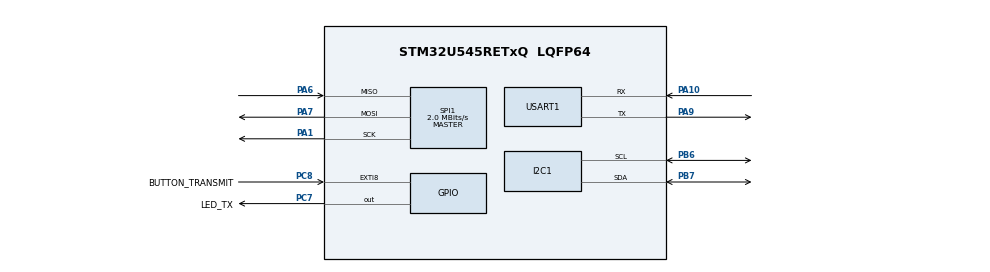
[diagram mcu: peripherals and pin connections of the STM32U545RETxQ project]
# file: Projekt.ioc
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CORTEX_M33_NS.userName=CORTEX_M33
I2C1.Timing=0x00000E14
Mcu.Family=STM32U5
Mcu.Name=STM32U545RETxQ
Mcu.Package=LQFP64
NVIC.EXTI8_IRQn=true\:0\:0\:false\:false\:true\:true\:true\:true
NVIC.PriorityGroup=NVIC_PRIORITYGROUP_4
PA1.Mode=Full_Duplex_Master
PA1.Signal=SPI1_SCK
PA10.Mode=Asynchronous
PA10.Signal=USART1_RX
PA6.Mode=Full_Duplex_Master
PA6.Signal=SPI1_MISO
PA7.Mode=Full_Duplex_Master
PA7.Signal=SPI1_MOSI
PA9.Mode=Asynchronous
PA9.Signal=USART1_TX
PB6.Mode=I2C
PB6.Signal=I2C1_SCL
PB7.Mode=I2C
PB7.Signal=I2C1_SDA
PC7.GPIO_Label=LED_TX
PC7.Signal=GPIO_Output
PC8.GPIO_Label=BUTTON_TRANSMIT
PC8.GPIO_ModeDefaultEXTI=GPIO_MODE_IT_FALLING
PC8.GPIO_PuPd=GPIO_PULLDOWN
PC8.Signal=GPXTI8
ProjectManager.HeapSize=0x200
ProjectManager.StackSize=0x400
ProjectManager.TargetToolchain=STM32CubeIDE
RCC.ADCFreq_Value=16000000
RCC.DACCLockSelectionVirtual=RCC_DAC1CLKSOURCE_LSI
RCC.DACCLockSelectionVirtualString=RCC_DAC1CLKSOURCE_LSI
RCC.EPOD_VALUE=4000000
RCC.HSE_VALUE=16000000
RCC.HSI48_VALUE=48000000
RCC.HSI_VALUE=16000000
RCC.LSE_VALUE=32768
RCC.LSIDIV_VALUE=32000
RCC.MSI_VALUE=4000000
RCC.USBFreq_Value=48000000
RCC.VCOOutputFreq_Value=516000000
SPI1.CalculateBaudRate=2.0 MBits/s
SPI1.Direction=SPI_DIRECTION_2LINES
SPI1.Mode=SPI_MODE_MASTER
SPI1.VirtualType=VM_MASTER
USART1.VirtualMode-Asynchronous=VM_ASYNC
VP_CRC_VS_CRC.Mode=CRC_Activate
VP_LPBAMQUEUE_VS_QUEUE.Mode=QUEUEMODE
VP_LPBAM_VS_SIG1.Mode=SmartRun
VP_LPBAM_VS_SIG4.Mode=LPDMA1
VP_MEMORYMAP_VS_MEMORYMAP.Mode=CurAppReg
VP_PWR_VS_SECSignals.Mode=Security/Privilege
VP_RTC_VS_RTC_Activate.Mode=RTC_Enabled
board=custom

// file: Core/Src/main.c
/* USER CODE BEGIN Header */
/**
  ******************************************************************************
  * @file           : main.c
  * @brief          : Main program body
  ******************************************************************************
  * @attention
  *
  * Copyright (c) 2025 STMicroelectronics.
  * All rights reserved.
  *
  * This software is licensed under terms that can be found in the LICENSE file
  * in the root directory of this software component.
  * If no LICENSE file comes with this software, it is provided AS-IS.
  *
  ******************************************************************************
  */
/* USER CODE END Header */
#include "main.h"

/* USER CODE BEGIN Includes */
#include "app_template.h"
#include "crypto_utils.h"
#include "config.h"
#include <stdbool.h>
#include <stdio.h>
/* USER CODE END Includes */

/* USER CODE BEGIN PD */
#define RF_FREQUENCY     868200000 // Hz
#define TX_OUTPUT_POWER  0         // dBm
#define TX_TIMEOUT       3000      // ms
/* USER CODE END PD */

CRC_HandleTypeDef hcrc;

I2C_HandleTypeDef hi2c1;

RTC_HandleTypeDef hrtc;

SPI_HandleTypeDef hspi1;

UART_HandleTypeDef huart1;

/* USER CODE BEGIN PV */
int __io_putchar(int ch)
{
	if (ch == '\n') {
		uint8_t ch2 = '\r';
		HAL_UART_Transmit(&huart1, &ch2, 1, HAL_MAX_DELAY);
	}

	HAL_UART_Transmit(&huart1, (uint8_t*)&ch, 1, HAL_MAX_DELAY);
	return 1;
}
/* USER CODE END PV */

void SystemClock_Config(void);
static void MX_GPIO_Init(void);
static void MX_USART1_UART_Init(void);
static void MX_RTC_Init(void);
static void MX_SPI1_Init(void);
static void MX_CRC_Init(void);
static void MX_I2C1_Init(void);

/* USER CODE BEGIN 0 */
volatile uint8_t buttonPressed = 0; // Flaga sygnalizująca naciśnięcie
volatile bool transmission_in_progress = false; // Flaga blokująca kolejne przerwania
void HAL_GPIO_EXTI_Falling_Callback(uint16_t GPIO_Pin)
{
    // Sprawdź czy to właściwy pin ORAZ czy transmisja nie jest już w toku
    if(GPIO_Pin == BUTTON_TRANSMIT_Pin && !transmission_in_progress)
    {
        // Zastosuj prosty software debounce - opóźnienie czasowe
        // (Można też użyć HAL_GetTick() do bardziej precyzyjnego pomiaru)
        uint32_t last_tick = HAL_GetTick();
        while (HAL_GPIO_ReadPin(BUTTON_TRANSMIT_GPIO_Port, BUTTON_TRANSMIT_Pin) == GPIO_PIN_RESET) {
             // Czekaj aż przycisk zostanie puszczony LUB minie krótki czas (np. 50ms)
             if (HAL_GetTick() - last_tick > 50) break;
        }

        // Sprawdź ponownie, czy flaga nie została ustawiona w międzyczasie
        // i czy przycisk jest faktycznie nieaktywny (puszczony - stan wysoki dla PULLUP)
         if (!transmission_in_progress && HAL_GPIO_ReadPin(BUTTON_TRANSMIT_GPIO_Port, BUTTON_TRANSMIT_Pin) == GPIO_PIN_SET) {
             buttonPressed = 1; // Ustaw flagę żądania transmisji
             transmission_in_progress = true; // Zablokuj możliwość kolejnego przerwania do końca cyklu
         }
    }
}
/* USER CODE END 0 */

int main(void)
{

  /* MCU Configuration--------------------------------------------------------*/

  /* Reset of all peripherals, Initializes the Flash interface and the Systick. */
  HAL_Init();

  /* Configure the system clock */
  SystemClock_Config();

  /* Initialize all configured peripherals */
  MX_GPIO_Init();
  MX_USART1_UART_Init();
  MX_RTC_Init();
  MX_SPI1_Init();
  MX_CRC_Init();
  MX_I2C1_Init();
  /* USER CODE BEGIN 2 */

  printf("===== Test funkcji kryptograficznych =====\n\r");

  printf("\n\r>> Test funkcji bezpiecznej ramki z komendą:\n\r");

  /* Zmienna na licznik - teraz tylko ta wartość jest definiowana lokalnie */
  uint8_t counter[8] = {0x00, 0x00, 0x00, 0x00, 0x00, 0x00, 0x00, 0x01};

  /* Bufory na ramkę i wyniki */
  uint8_t secure_frame[MAX_FRAME_SIZE];
  size_t secure_frame_size;

  create_secure_command_frame(
      PILOT_ID,                                  // ID pilota z pliku config
      counter,                                   // Lokalny licznik
      CRYPTO_AES_KEY, sizeof(CRYPTO_AES_KEY),    // Klucz do szyfrowania AES
      CRYPTO_HMAC_KEY, sizeof(CRYPTO_HMAC_KEY),  // Klucz do podpisu HMAC
      CRYPTO_IV, sizeof(CRYPTO_IV),              // Wektor inicjalizacyjny
      secure_frame, &secure_frame_size);

  /* Symulacja odbioru i przetwarzania ramki */
  uint8_t received_pilot_id[PILOT_ID_LENGTH];
  uint8_t received_counter[8];
  uint8_t received_command[MAX_COMMAND_LENGTH];
  size_t received_command_size;

  uint8_t result = validate_and_process_command(
      secure_frame, secure_frame_size,
      CRYPTO_AES_KEY, sizeof(CRYPTO_AES_KEY),    // Klucz do szyfrowania AES
      CRYPTO_HMAC_KEY, sizeof(CRYPTO_HMAC_KEY),  // Klucz do podpisu HMAC
      CRYPTO_IV, sizeof(CRYPTO_IV),              // Wektor inicjalizacyjny
      received_pilot_id, received_counter,
      received_command, &received_command_size);

  if (result) {
      printf("\n\r>> Odebrana komenda została pomyślnie zweryfikowana i przetworzona!\n\r");

      /* Weryfikacja czy odebrane ID pilota zgadza się z konfiguracyjnym */
      if (memcmp(received_pilot_id, PILOT_ID, PILOT_ID_LENGTH) == 0) {
          printf(">> ID pilota zweryfikowane poprawnie.\n\r");
      } else {
          printf(">> Błąd: Odebrane ID pilota nie zgadza się z oczekiwanym.\n\r");
      }
  } else {
      printf("\n\r>> Błąd podczas weryfikacji lub przetwarzania odebranej komendy!\n\r");
  }

  printf("\n\r===== Koniec testów =====\n\r");

  /* USER CODE END 2 */

  /* Infinite loop */
  while (1)
  {

    /* USER CODE BEGIN 3 */

	  if (buttonPressed)
	  {
	      buttonPressed = 0;
	      transmission_in_progress = true;

	      app_main();

	      transmission_in_progress = false;
	        for(int i = 0; i < 10; i++)
	        {
	            HAL_GPIO_TogglePin(LED_TX_GPIO_Port, LED_TX_Pin); // Włącz diodę
	            HAL_Delay(100);
	            HAL_GPIO_TogglePin(LED_TX_GPIO_Port, LED_TX_Pin); // Wyłącz diodę
	            HAL_Delay(100);
	        }
	  }
  }
  /* USER CODE END 3 */
}

void SystemClock_Config(void)
{
  RCC_OscInitTypeDef RCC_OscInitStruct = {0};
  RCC_ClkInitTypeDef RCC_ClkInitStruct = {0};

  /** Configure the main internal regulator output voltage
  */
  if (HAL_PWREx_ControlVoltageScaling(PWR_REGULATOR_VOLTAGE_SCALE4) != HAL_OK)
  {
    Error_Handler();
  }

  /** Initializes the CPU, AHB and APB buses clocks
  */
  RCC_OscInitStruct.OscillatorType = RCC_OSCILLATORTYPE_LSI|RCC_OSCILLATORTYPE_MSI;
  RCC_OscInitStruct.LSIState = RCC_LSI_ON;
  RCC_OscInitStruct.MSIState = RCC_MSI_ON;
  RCC_OscInitStruct.MSICalibrationValue = RCC_MSICALIBRATION_DEFAULT;
  RCC_OscInitStruct.MSIClockRange = RCC_MSIRANGE_4;
  RCC_OscInitStruct.LSIDiv = RCC_LSI_DIV1;
  RCC_OscInitStruct.PLL.PLLState = RCC_PLL_NONE;
  if (HAL_RCC_OscConfig(&RCC_OscInitStruct) != HAL_OK)
  {
    Error_Handler();
  }

  /** Initializes the CPU, AHB and APB buses clocks
  */
  RCC_ClkInitStruct.ClockType = RCC_CLOCKTYPE_HCLK|RCC_CLOCKTYPE_SYSCLK
                              |RCC_CLOCKTYPE_PCLK1|RCC_CLOCKTYPE_PCLK2
                              |RCC_CLOCKTYPE_PCLK3;
  RCC_ClkInitStruct.SYSCLKSource = RCC_SYSCLKSOURCE_MSI;
  RCC_ClkInitStruct.AHBCLKDivider = RCC_SYSCLK_DIV1;
  RCC_ClkInitStruct.APB1CLKDivider = RCC_HCLK_DIV1;
  RCC_ClkInitStruct.APB2CLKDivider = RCC_HCLK_DIV1;
  RCC_ClkInitStruct.APB3CLKDivider = RCC_HCLK_DIV1;

  if (HAL_RCC_ClockConfig(&RCC_ClkInitStruct, FLASH_LATENCY_0) != HAL_OK)
  {
    Error_Handler();
  }
}

static void MX_CRC_Init(void)
{

  hcrc.Instance = CRC;
  hcrc.Init.DefaultPolynomialUse = DEFAULT_POLYNOMIAL_ENABLE;
  hcrc.Init.DefaultInitValueUse = DEFAULT_INIT_VALUE_ENABLE;
  hcrc.Init.InputDataInversionMode = CRC_INPUTDATA_INVERSION_NONE;
  hcrc.Init.OutputDataInversionMode = CRC_OUTPUTDATA_INVERSION_DISABLE;
  hcrc.InputDataFormat = CRC_INPUTDATA_FORMAT_BYTES;
  if (HAL_CRC_Init(&hcrc) != HAL_OK)
  {
    Error_Handler();
  }

}

static void MX_I2C1_Init(void)
{

  hi2c1.Instance = I2C1;
  hi2c1.Init.Timing = 0x00000E14;
  hi2c1.Init.OwnAddress1 = 0;
  hi2c1.Init.AddressingMode = I2C_ADDRESSINGMODE_7BIT;
  hi2c1.Init.DualAddressMode = I2C_DUALADDRESS_DISABLE;
  hi2c1.Init.OwnAddress2 = 0;
  hi2c1.Init.OwnAddress2Masks = I2C_OA2_NOMASK;
  hi2c1.Init.GeneralCallMode = I2C_GENERALCALL_DISABLE;
  hi2c1.Init.NoStretchMode = I2C_NOSTRETCH_DISABLE;
  if (HAL_I2C_Init(&hi2c1) != HAL_OK)
  {
    Error_Handler();
  }

  /** Configure Analogue filter
  */
  if (HAL_I2CEx_ConfigAnalogFilter(&hi2c1, I2C_ANALOGFILTER_ENABLE) != HAL_OK)
  {
    Error_Handler();
  }

  /** Configure Digital filter
  */
  if (HAL_I2CEx_ConfigDigitalFilter(&hi2c1, 0) != HAL_OK)
  {
    Error_Handler();
  }

}

static void MX_RTC_Init(void)
{

  RTC_PrivilegeStateTypeDef privilegeState = {0};

  /** Initialize RTC Only
  */
  hrtc.Instance = RTC;
  hrtc.Init.HourFormat = RTC_HOURFORMAT_24;
  hrtc.Init.AsynchPrediv = 127;
  hrtc.Init.SynchPrediv = 255;
  hrtc.Init.OutPut = RTC_OUTPUT_DISABLE;
  hrtc.Init.OutPutRemap = RTC_OUTPUT_REMAP_NONE;
  hrtc.Init.OutPutPolarity = RTC_OUTPUT_POLARITY_HIGH;
  hrtc.Init.OutPutType = RTC_OUTPUT_TYPE_OPENDRAIN;
  hrtc.Init.OutPutPullUp = RTC_OUTPUT_PULLUP_NONE;
  hrtc.Init.BinMode = RTC_BINARY_NONE;
  if (HAL_RTC_Init(&hrtc) != HAL_OK)
  {
    Error_Handler();
  }
  privilegeState.rtcPrivilegeFull = RTC_PRIVILEGE_FULL_NO;
  privilegeState.backupRegisterPrivZone = RTC_PRIVILEGE_BKUP_ZONE_NONE;
  privilegeState.backupRegisterStartZone2 = RTC_BKP_DR0;
  privilegeState.backupRegisterStartZone3 = RTC_BKP_DR0;
  if (HAL_RTCEx_PrivilegeModeSet(&hrtc, &privilegeState) != HAL_OK)
  {
    Error_Handler();
  }

}

static void MX_SPI1_Init(void)
{

  SPI_AutonomousModeConfTypeDef HAL_SPI_AutonomousMode_Cfg_Struct = {0};

  /* SPI1 parameter configuration*/
  hspi1.Instance = SPI1;
  hspi1.Init.Mode = SPI_MODE_MASTER;
  hspi1.Init.Direction = SPI_DIRECTION_2LINES;
  hspi1.Init.DataSize = SPI_DATASIZE_4BIT;
  hspi1.Init.CLKPolarity = SPI_POLARITY_LOW;
  hspi1.Init.CLKPhase = SPI_PHASE_1EDGE;
  hspi1.Init.NSS = SPI_NSS_SOFT;
  hspi1.Init.BaudRatePrescaler = SPI_BAUDRATEPRESCALER_2;
  hspi1.Init.FirstBit = SPI_FIRSTBIT_MSB;
  hspi1.Init.TIMode = SPI_TIMODE_DISABLE;
  hspi1.Init.CRCCalculation = SPI_CRCCALCULATION_DISABLE;
  hspi1.Init.CRCPolynomial = 0x7;
  hspi1.Init.NSSPMode = SPI_NSS_PULSE_ENABLE;
  hspi1.Init.NSSPolarity = SPI_NSS_POLARITY_LOW;
  hspi1.Init.FifoThreshold = SPI_FIFO_THRESHOLD_01DATA;
  hspi1.Init.MasterSSIdleness = SPI_MASTER_SS_IDLENESS_00CYCLE;
  hspi1.Init.MasterInterDataIdleness = SPI_MASTER_INTERDATA_IDLENESS_00CYCLE;
  hspi1.Init.MasterReceiverAutoSusp = SPI_MASTER_RX_AUTOSUSP_DISABLE;
  hspi1.Init.MasterKeepIOState = SPI_MASTER_KEEP_IO_STATE_DISABLE;
  hspi1.Init.IOSwap = SPI_IO_SWAP_DISABLE;
  hspi1.Init.ReadyMasterManagement = SPI_RDY_MASTER_MANAGEMENT_INTERNALLY;
  hspi1.Init.ReadyPolarity = SPI_RDY_POLARITY_HIGH;
  if (HAL_SPI_Init(&hspi1) != HAL_OK)
  {
    Error_Handler();
  }
  HAL_SPI_AutonomousMode_Cfg_Struct.TriggerState = SPI_AUTO_MODE_DISABLE;
  HAL_SPI_AutonomousMode_Cfg_Struct.TriggerSelection = SPI_GRP1_GPDMA_CH0_TCF_TRG;
  HAL_SPI_AutonomousMode_Cfg_Struct.TriggerPolarity = SPI_TRIG_POLARITY_RISING;
  if (HAL_SPIEx_SetConfigAutonomousMode(&hspi1, &HAL_SPI_AutonomousMode_Cfg_Struct) != HAL_OK)
  {
    Error_Handler();
  }

}

static void MX_USART1_UART_Init(void)
{

  huart1.Instance = USART1;
  huart1.Init.BaudRate = 115200;
  huart1.Init.WordLength = UART_WORDLENGTH_8B;
  huart1.Init.StopBits = UART_STOPBITS_1;
  huart1.Init.Parity = UART_PARITY_NONE;
  huart1.Init.Mode = UART_MODE_TX_RX;
  huart1.Init.HwFlowCtl = UART_HWCONTROL_NONE;
  huart1.Init.OverSampling = UART_OVERSAMPLING_16;
  huart1.Init.OneBitSampling = UART_ONE_BIT_SAMPLE_DISABLE;
  huart1.Init.ClockPrescaler = UART_PRESCALER_DIV1;
  huart1.AdvancedInit.AdvFeatureInit = UART_ADVFEATURE_NO_INIT;
  if (HAL_UART_Init(&huart1) != HAL_OK)
  {
    Error_Handler();
  }
  if (HAL_UARTEx_SetTxFifoThreshold(&huart1, UART_TXFIFO_THRESHOLD_1_8) != HAL_OK)
  {
    Error_Handler();
  }
  if (HAL_UARTEx_SetRxFifoThreshold(&huart1, UART_RXFIFO_THRESHOLD_1_8) != HAL_OK)
  {
    Error_Handler();
  }
  if (HAL_UARTEx_DisableFifoMode(&huart1) != HAL_OK)
  {
    Error_Handler();
  }

}

static void MX_GPIO_Init(void)
{
  GPIO_InitTypeDef GPIO_InitStruct = {0};

  /* GPIO Ports Clock Enable */
  __HAL_RCC_GPIOA_CLK_ENABLE();
  __HAL_RCC_GPIOC_CLK_ENABLE();
  __HAL_RCC_GPIOB_CLK_ENABLE();

  /*Configure GPIO pin Output Level */
  HAL_GPIO_WritePin(LED_TX_GPIO_Port, LED_TX_Pin, GPIO_PIN_RESET);

  /*Configure GPIO pin : LED_TX_Pin */
  GPIO_InitStruct.Pin = LED_TX_Pin;
  GPIO_InitStruct.Mode = GPIO_MODE_OUTPUT_PP;
  GPIO_InitStruct.Pull = GPIO_NOPULL;
  GPIO_InitStruct.Speed = GPIO_SPEED_FREQ_LOW;
  HAL_GPIO_Init(LED_TX_GPIO_Port, &GPIO_InitStruct);

  /*Configure GPIO pin : BUTTON_TRANSMIT_Pin */
  GPIO_InitStruct.Pin = BUTTON_TRANSMIT_Pin;
  GPIO_InitStruct.Mode = GPIO_MODE_IT_FALLING;
  GPIO_InitStruct.Pull = GPIO_PULLDOWN;
  HAL_GPIO_Init(BUTTON_TRANSMIT_GPIO_Port, &GPIO_InitStruct);

  /* EXTI interrupt init*/
  HAL_NVIC_SetPriority(EXTI8_IRQn, 0, 0);
  HAL_NVIC_EnableIRQ(EXTI8_IRQn);

}

void Error_Handler(void)
{
  __disable_irq();
  while (1)
  {
  }
}
